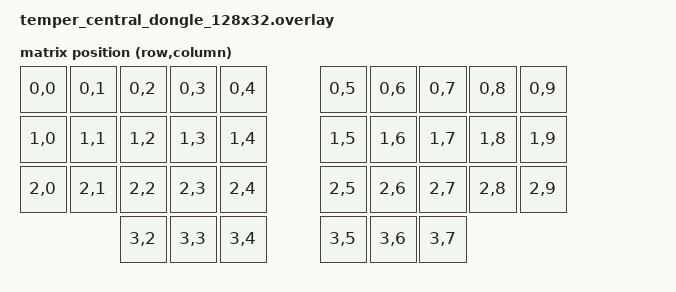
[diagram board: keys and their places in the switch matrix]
/*
 * Copyright (c) 2020 The ZMK Contributors
 *
 * SPDX-License-Identifier: MIT
 */
#include <dt-bindings/zmk/matrix_transform.h>

/ {
    chosen {
        zmk,kscan = &mock_kscan;
        zmk,matrix-transform = &default_transform;
        zephyr,display = &oled;
    };

    default_transform: keymap_transform_0 {
        compatible = "zmk,matrix-transform";
        columns = <10>;
		rows = <4>;
		map = <
    RC(0,0) RC(0,1) RC(0,2) RC(0,3) RC(0,4)   RC(0,5)  RC(0,6) RC(0,7) RC(0,8) RC(0,9) 
    RC(1,0) RC(1,1) RC(1,2) RC(1,3) RC(1,4)   RC(1,5)  RC(1,6) RC(1,7) RC(1,8) RC(1,9) 
    RC(2,0) RC(2,1) RC(2,2) RC(2,3) RC(2,4)   RC(2,5)  RC(2,6) RC(2,7) RC(2,8) RC(2,9) 
                    RC(3,2) RC(3,3) RC(3,4)   RC(3,5)  RC(3,6) RC(3,7)
        >;
    };

    mock_kscan: kscan_0 {
        compatible = "zmk,kscan-mock";
        columns = <0>;
        rows = <0>;
        events = <0>;
    };
};



// &pinctrl {
//     i2c0_default: i2c0_default {
//         group1 {
//             psels = <NRF_PSEL(TWIM_SDA, 0, 29)>,
//                 <NRF_PSEL(TWIM_SCL, 0, 28)>;
//                 bias-pull-up;  //Vital for I2C to work properlyfcdsas 
//         };
//     };
    
//     i2c0_sleep: i2c0_sleep {
//         group1 {
//             psels = <NRF_PSEL(TWIM_SDA, 0, 29)>,
//                 <NRF_PSEL(TWIM_SCL, 0, 28)>;
//                 bias-pull-up; 
//             low-power-enable;
//         };
//     };
//     };
    

//     &xiao_i2c {
//         status = "okay";
//         compatible = "nordic,nrf-twi";
//         pinctrl-0 = <&i2c0_default>;
//         pinctrl-1 = <&i2c0_sleep>;
//         oled: ssd1306@3c {
//             compatible = "solomon,ssd1306fb";
//             reg = <0x3c>;
//             label = "DISPLAY";
//             width = <128>;
//             height = <32>;
//             segment-offset = <0>;
//             page-offset = <0>;
//             display-offset = <0>;
//             multiplex-ratio = <31>;
//             segment-remap;
//             com-invdir;
//             com-sequential;
//             prechargep = <0x22>;
//             };
//     };

    &xiao_i2c {
        status = "okay";
        oled: ssd1306@3c {
            compatible = "solomon,ssd1306fb";
            reg = <0x3c>;
            label = "DISPLAY";
            width = <128>;
            height = <32>;
            segment-offset = <0>;
            page-offset = <0>;
            display-offset = <0>;
            multiplex-ratio = <31>;
            // segment-no-remap;
            // com-invdir;
            inversion-on;
            com-sequential;
            prechargep = <0x22>;
            };
    };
